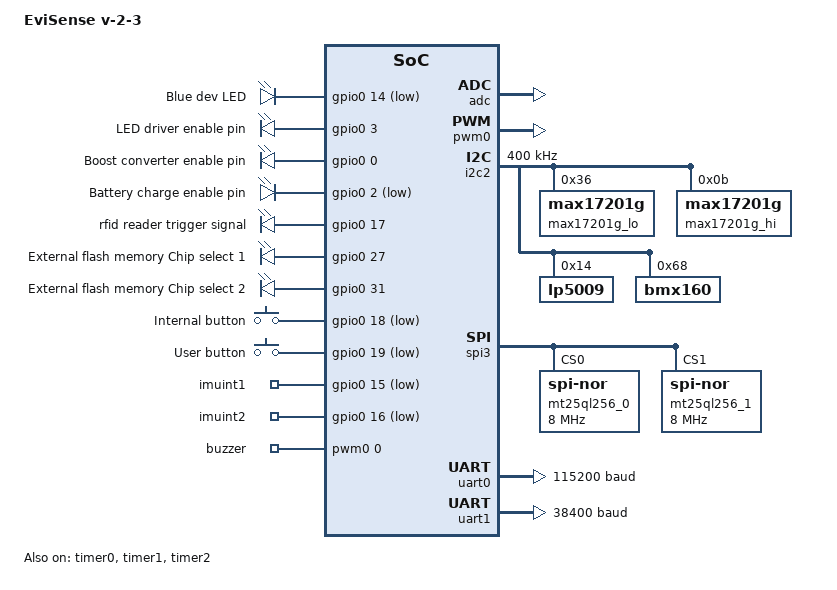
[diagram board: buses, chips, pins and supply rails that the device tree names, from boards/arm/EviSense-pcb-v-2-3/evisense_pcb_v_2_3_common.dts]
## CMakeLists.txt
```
cmake_minimum_required(VERSION 3.13.1)
list(APPEND BOARD_ROOT ${CMAKE_CURRENT_SOURCE_DIR})
find_package(Zephyr REQUIRED HINTS $ENV{ZEPHYR_BASE})
set(CMAKE_EXPORT_COMPILE_COMMANDS ON CACHE INTERNAL "")

project(EviSense)

zephyr_include_directories(include)       
zephyr_include_directories(src/protobuf-c)
zephyr_include_directories(src)

target_sources(app PRIVATE src/main.c)
target_sources(app PRIVATE src/middleware/adc.c)
target_sources(app PRIVATE src/middleware/aletheia.pb-c.c)
target_sources(app PRIVATE src/middleware/battery_gauge.c)
target_sources(app PRIVATE src/middleware/bmi160.c)
target_sources(app PRIVATE src/middleware/bmm150.c)
target_sources(app PRIVATE src/middleware/buttons.c)
target_sources(app PRIVATE src/middleware/buzzer.c)
target_sources(app PRIVATE src/middleware/flash.c)
target_sources(app PRIVATE src/middleware/gpio.c)
target_sources(app PRIVATE src/middleware/hard_reset.c)
target_sources(app PRIVATE src/middleware/i2c.c)
target_sources(app PRIVATE src/middleware/imu.c)
target_sources(app PRIVATE src/middleware/led.c)
target_sources(app PRIVATE src/middleware/pwm.c)
target_sources(app PRIVATE src/middleware/rfid.c)
target_sources(app PRIVATE src/middleware/rtc.c)
target_sources(app PRIVATE src/middleware/spi.c)
target_sources(app PRIVATE src/middleware/stepdetection.c)
target_sources(app PRIVATE src/middleware/uart.c)
target_sources(app PRIVATE src/middleware/usb.c)
target_sources(app PRIVATE src/middleware/watchdog.c)

target_sources(app PRIVATE src/flash/datalog_mem.c)
target_sources(app PRIVATE src/flash/device_mem.c)
target_sources(app PRIVATE src/flash/epc_mem.c)
target_sources(app PRIVATE src/flash/event_mem.c)
target_sources(app PRIVATE src/flash/parameter_mem.c)
target_sources(app PRIVATE src/flash/system_mem.c)

target_sources(app PRIVATE src/logic/algorithms.c)
target_sources(app PRIVATE src/logic/aws_fota.c)
target_sources(app PRIVATE src/logic/cloud.c)
target_sources(app PRIVATE src/logic/coap.c)
target_sources(app PRIVATE src/logic/commands.c)
target_sources(app PRIVATE src/logic/hibernate.c)
target_sources(app PRIVATE src/logic/events.c)
target_sources(app PRIVATE src/logic/modem.c)
target_sources(app PRIVATE src/logic/notification.c)
target_sources(app PRIVATE src/logic/test.c)
target_sources(app PRIVATE src/logic/threads.c)

target_sources(app PRIVATE src/protobuf-c/protobuf-c.c)
```

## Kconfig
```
#
# Copyright (c) 2019 Nordic Semiconductor ASA
#
# SPDX-License-Identifier: LicenseRef-BSD-5-Clause-Nordic
#

menu "CoAP client settings"

config COAP_SERVER_HOSTNAME
	string "CoAP server hostname"
	default "51.137.207.218"
#	default "64.225.102.80"

config COAP_SERVER_PORT
	int "CoAP server port"
	default 5683

endmenu


menu "MQTT FOTA Sample Settings"

config APP_VERSION
	string "Application version"
	default "not used"

config USE_NRF_CLOUD
	bool "Use nRF Cloud"
	default n

config CLOUD_CERT_SEC_TAG
	depends on !USE_NRF_CLOUD
	int "Security tag for TLS credentials"
	default 12345678

config PROVISION_CERTIFICATES
	depends on !USE_NRF_CLOUD
	bool "Provision certificates from the certificates.h file"
	select MODEM_KEY_MGMT
	default n
	help
	  If enabled, the sample provisions server certificates into
	  the modem by storing the certificates defined in the
	  certificates.h file in the modem under the given security tag.
	  Use this option only once to provision the device.
	  The certificates are stored in the application binary and are
	  therefore shown in the modem trace information. This is a
	  security risk. After provisioning the certificates, turn off
	  this option and compile and program the sample again.
	  Also, do not share the binary that includes the compiled
	  certificates with anyone.

config USE_CLOUD_CLIENT_ID
	depends on !USE_NRF_CLOUD
	bool "random_name"
	default y

config CLOUD_CLIENT_ID
	depends on !USE_NRF_CLOUD
	depends on USE_CLOUD_CLIENT_ID
	string "Client ID"
	default "random_name"

config MQTT_BROKER_HOSTNAME
	depends on !USE_NRF_CLOUD
	string "AWS IoT MQTT broker hostname"
	default "a1bezktdoij91s-ats.iot.eu-central-1.amazonaws.com"
	help
	  Default is set to be the nRF Cloud MQTT broker.

config MQTT_BROKER_PORT
	depends on !USE_NRF_CLOUD
	int "AWS IoT MQTT broker port"
	default 8883

config MQTT_BROKER_HOSTNAME
	depends on USE_NRF_CLOUD
	string
	default "a2n7tk1kp18wix-ats.iot.us-east-1.amazonaws.com"
	help
	  Default is set to be the nRF Cloud MQTT broker.

config MQTT_BROKER_PORT
	depends on USE_NRF_CLOUD
	int
	default 8883

config NRF_CLOUD_CLIENT_ID_PREFIX
	depends on !USE_CLOUD_CLIENT_ID
	depends on !NRF_CLOUD
	string "Prefix used when constructing the MQTT client ID from the IMEI"
	default "nrf-"
	help
	  The nrf- prefix is reserved on nRF Connect for Cloud for official Nordic
	  devices (e.g. the nRF9160 DK or the Thingy:91).
	  In case you wish to use aws_fota on nRF Connect for Cloud with your own
	  devices you need to modify the prefix used to generate the MQTT client
	  ID from the IMEI.
	  This property is provided here in case the nrf_cloud module itself is not
	  enabled.

config MQTT_MESSAGE_BUFFER_SIZE
	int "MQTT message buffer size"
	default 128

config MQTT_PAYLOAD_BUFFER_SIZE
	int "MQTT payload buffer size"
	default 128

config DEVICE_SHADOW_PAYLOAD_SIZE
	int "MQTT payload transmission buffer size for AWS IoT device shadow updates"
	default 255

endmenu

menu "Zephyr Kernel"
source "Kconfig.zephyr"
endmenu
```

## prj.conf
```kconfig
# General config
CONFIG_REBOOT=y
CONFIG_DEBUG=y
CONFIG_WATCHDOG=y
CONFIG_WDT_DISABLE_AT_BOOT=n
CONFIG_PWM=y
CONFIG_ADC=y
CONFIG_I2C=y
CONFIG_SPI=y

#Config Uart
CONFIG_UART_ASYNC_API=y
CONFIG_STDOUT_CONSOLE=y

# General
CONFIG_BUILD_WITH_TFM=y
CONFIG_PARTITION_MANAGER_ENABLED=y
CONFIG_FPU=y
CONFIG_PDN=y

# Shell
CONFIG_SHELL=y
CONFIG_SHELL_BACKEND_SERIAL=y
CONFIG_SHELL_PROMPT_UART="user: "
CONFIG_THREAD_MONITOR=y
CONFIG_BOOT_BANNER=n
CONFIG_SHELL_WILDCARD=n
CONFIG_DEVICE_SHELL=n
CONFIG_CLOCK_CONTROL_NRF_SHELL=n
CONFIG_GPIO_SHELL=n
CONFIG_ADC_SHELL=n
CONFIG_I2C_SHELL=n
CONFIG_DEVMEM_SHELL=n
CONFIG_FLASH_SHELL=n

# Logging
#CONFIG_LOG=y
#CONFIG_LOG_DEFAULT_LEVEL=0
#CONFIG_LOG_BACKEND_UART=y

# Heap and stacks
CONFIG_HEAP_MEM_POOL_SIZE=16384
CONFIG_IDLE_STACK_SIZE=2048

# newlibc
CONFIG_NEWLIB_LIBC=y
CONFIG_NEWLIB_LIBC_FLOAT_PRINTF=y
CONFIG_CBPRINTF_FP_SUPPORT=y

# Modem library
CONFIG_NRF_MODEM_LIB=y
CONFIG_MODEM_INFO=y
CONFIG_MODEM_KEY_MGMT=y

# LTE link control
CONFIG_LTE_LINK_CONTROL=y
#CONFIG_LTE_NETWORK_DEFAULT=y
CONFIG_LTE_NETWORK_USE_FALLBACK=y

# Networking
CONFIG_NETWORKING=y
CONFIG_NET_NATIVE=n
CONFIG_NET_SOCKETS=y
CONFIG_NET_SOCKETS_OFFLOAD=y
CONFIG_NET_SOCKETS_POSIX_NAMES=y
CONFIG_NET_IPV4=y
CONFIG_NET_UDP=y

# Date and Time
CONFIG_DATE_TIME=y
CONFIG_DATE_TIME_MODEM=y
CONFIG_DATE_TIME_NTP=y
CONFIG_DATE_TIME_AUTO_UPDATE=y

# CoAP
CONFIG_COAP=y
CONFIG_COAP_EXTENDED_OPTIONS_LEN=y
CONFIG_COAP_EXTENDED_OPTIONS_LEN_VALUE=800
CONFIG_COAP_SERVER_PORT=5684

################################
# Config needed for AWS update
################################

# AWS IoT library
CONFIG_AWS_IOT=y
CONFIG_AWS_IOT_CLIENT_ID_STATIC="EviSense"
CONFIG_AWS_IOT_BROKER_HOST_NAME="a1bezktdoij91s-ats.iot.eu-central-1.amazonaws.com"
CONFIG_AWS_IOT_SEC_TAG=12345678
CONFIG_AWS_IOT_APP_SUBSCRIPTION_LIST_COUNT=2
CONFIG_AWS_IOT_TOPIC_UPDATE_DELTA_SUBSCRIBE=y
CONFIG_AWS_IOT_LAST_WILL=y
CONFIG_AWS_IOT_TOPIC_GET_ACCEPTED_SUBSCRIBE=y
CONFIG_AWS_IOT_TOPIC_GET_REJECTED_SUBSCRIBE=y

# MQTT - Maximum MQTT keepalive timeout specified by AWS IoT Core
CONFIG_MQTT_KEEPALIVE=1200

# MCUBOOT
CONFIG_BOOTLOADER_MCUBOOT=y
CONFIG_MCUBOOT_IMG_MANAGER=y

# Image manager
CONFIG_IMG_MANAGER=y
CONFIG_STREAM_FLASH=y
CONFIG_FLASH_MAP=y
CONFIG_FLASH=y
CONFIG_IMG_ERASE_PROGRESSIVELY=y

# AWS FOTA
CONFIG_AWS_FOTA=y
CONFIG_FOTA_DOWNLOAD=y
CONFIG_DFU_TARGET=y

# CJSON
CONFIG_CJSON_LIB=y

# Download client (needed by AWS FOTA)
CONFIG_DOWNLOAD_CLIENT=y
CONFIG_DOWNLOAD_CLIENT_STACK_SIZE=4096
```

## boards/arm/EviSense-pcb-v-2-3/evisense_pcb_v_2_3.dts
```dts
/*
 * Copyright (c) 2019 Nordic Semiconductor ASA
 *
 * SPDX-License-Identifier: LicenseRef-BSD-5-Clause-Nordic
 */

/dts-v1/;
#include <nordic/nrf9160_sica.dtsi>
#include "evisense_pcb_v_2_3_common.dts"

/ {
	chosen {
		zephyr,sram = &sram0;
		zephyr,flash = &flash0;
		zephyr,code-partition = &slot0_partition;
	};
};
```

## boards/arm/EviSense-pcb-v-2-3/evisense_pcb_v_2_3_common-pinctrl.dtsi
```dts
&pinctrl {
	pwm0_default: pwm0_default {
		group1 {
			psels = <NRF_PSEL(PWM_OUT0, 0, 26)>;
		};
	};

	pwm0_sleep: pwm0_sleep {
		group1 {
			psels = <NRF_PSEL(PWM_OUT0, 0, 26)>;
			low-power-enable;
		};
	};

	i2c2_default: i2c2_default {
		group1 {
			psels = <NRF_PSEL(TWIM_SDA, 0, 11)>,
				<NRF_PSEL(TWIM_SCL, 0, 12)>;
		};
	};

	i2c2_sleep: i2c2_sleep {
		group1 {
			psels = <NRF_PSEL(TWIM_SDA, 0, 11)>,
				<NRF_PSEL(TWIM_SCL, 0, 12)>;
			low-power-enable;
		};
	};

	spi3_default: spi3_default {
		group1 {
			psels = <NRF_PSEL(SPIM_SCK, 0, 28)>,
				<NRF_PSEL(SPIM_MOSI, 0, 29)>,
				<NRF_PSEL(SPIM_MISO, 0, 30)>;
		};
	};

	spi3_sleep: spi3_sleep {
		group1 {
			psels = <NRF_PSEL(SPIM_SCK, 0, 28)>,
				<NRF_PSEL(SPIM_MOSI, 0, 29)>,
				<NRF_PSEL(SPIM_MISO, 0, 30)>;
			low-power-enable;
		};
	};

	uart0_default: uart0_default {
		group1 {
			psels = <NRF_PSEL(UART_TX, 0, 22)>,
				<NRF_PSEL(UART_RX, 0, 23)>;
		};
	};

	uart0_sleep: uart0_sleep {
		group1 {
			psels = <NRF_PSEL(UART_TX, 0, 22)>,
				<NRF_PSEL(UART_RX, 0, 23)>;
			low-power-enable;
		};
	};

	uart1_default: uart1_default {
		group1 {
			psels = <NRF_PSEL(UART_TX, 0, 8)>,
				<NRF_PSEL(UART_RX, 0, 7)>;
		};
	};

	uart1_sleep: uart1_sleep {
		group1 {
			psels = <NRF_PSEL(UART_TX, 0, 8)>,
				<NRF_PSEL(UART_RX, 0, 7)>;
			low-power-enable;
		};
	};
};
```

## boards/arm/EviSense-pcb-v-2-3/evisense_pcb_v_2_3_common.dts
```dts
/*
 * Copyright (c) 2019 Nordic Semiconductor ASA
 *
 * SPDX-License-Identifier: LicenseRef-BSD-5-Clause-Nordic
 */

#include "evisense_pcb_v_2_3_common-pinctrl.dtsi"

/ {
	model = "EviSense v-2-3";
	compatible = "keiltronic,evisense_pcb_v_2_3";

	chosen {
		zephyr,console = &uart0;
		zephyr,shell-uart = &uart0;
		zephyr,uart-mcumgr = &uart0;
	};

	aliases{
		led0 = &led0;
		btn0 = &button0;
		btn1 = &button1;
		extflash1 = &mt25ql256_0;
		extflash2 = &mt25ql256_1;
		mysensor = &bmx160;
		myleddriver = &lp5009;
		lp5009enable = &lp5009_enable;
		batterygaugelo = &max17201g_lo;
		batterygaugehi = &max17201g_hi;
		watchdog0 = &wdt0;
		imu = &bmx160;
		imuint1 = &imuint1;
		imuint2 = &imuint2;
		boosterenable = &booster_enable;
		chargeenable = &charge_enable;
		rfidtrigger = &rfid_trigger;
		spi3 = &spi3;
		cs1 = &cs_1;
		cs2 = &cs_2;
		buzzerpwm = &buzzer;
		i2c2 = &i2c2;
		/*mcuboot_button0 = &button1;*/
	};

	leds {
		compatible = "gpio-leds";
		led0: led_0 {
			gpios = <&gpio0 14 GPIO_ACTIVE_LOW>;
			label = "Blue dev LED";
		};

		lp5009_enable: lp5009_en {
			gpios = <&gpio0 3 GPIO_ACTIVE_HIGH>;
			label = "LED driver enable pin";
		};

		booster_enable: booster_en {
			gpios = <&gpio0 0 GPIO_ACTIVE_HIGH>;
			label = "Boost converter enable pin";
		};

		charge_enable: charge_en {
			gpios = <&gpio0 2 GPIO_ACTIVE_LOW>;
			label = "Battery charge enable pin";
		};

		rfid_trigger: rfid_trig {
			gpios = <&gpio0 17 GPIO_ACTIVE_HIGH>;
			label = "rfid reader trigger signal";
		};

		cs_1: cs1 {
			gpios = <&gpio0 27 GPIO_ACTIVE_HIGH>;
			label = "External flash memory Chip select 1";
		};

		cs_2: cs2 {
			gpios = <&gpio0 31 GPIO_ACTIVE_HIGH>;
			label = "External flash memory Chip select 2";
		};
	};
	

	buttons {
		compatible = "gpio-keys";
		button0: button_0 {
			gpios = <&gpio0 18 (GPIO_PULL_UP | GPIO_ACTIVE_LOW)>;
			label = "Internal button";
		};
		button1: button_1 {
			gpios = <&gpio0 19 (GPIO_PULL_UP | GPIO_ACTIVE_LOW)>;
			label = "User button";
		};
		imuint1: imu_int1 {
			gpios = <&gpio0 15 (GPIO_PULL_UP | GPIO_ACTIVE_LOW)>;
		};

		imuint2: imu_int2 {
			gpios = <&gpio0 16 (GPIO_PULL_UP | GPIO_ACTIVE_LOW)>;
		};
	};

	reset {
		compatible = "reset-switch";
		reset0: reset_0 {
			gpios = <&gpio0 1 (GPIO_PULL_DOWN | GPIO_ACTIVE_HIGH)>;			
		};
	};

	pwmbuzzer{
		compatible = "pwm-leds";
		status = "okay";

		buzzer: buzzer_pwm {
			pwms = < &pwm0 0 PWM_HZ(2700) PWM_POLARITY_NORMAL>;
		};
	};
};

&wdt0 {
	/* uncomment to use Non-Maskable interrupt instead of the normal one */
	/* interrupt-nmi; */
};

&adc {
	status = "okay";
};

&gpiote {
	status = "okay";
};

&gpio0 {
	status = "okay";
};

&pwm0 {
	status = "okay";
	pinctrl-0 = <&pwm0_default>;
	pinctrl-1 = <&pwm0_sleep>;
	pinctrl-names = "default", "sleep";
};

&i2c2 {
	compatible = "nordic,nrf-twim";
	status = "okay";
	pinctrl-0 = <&i2c2_default>;
	pinctrl-1 = <&i2c2_sleep>;
	pinctrl-names = "default", "sleep";
	clock-frequency = <I2C_BITRATE_FAST>;

 	max17201g_lo: max17201g@36 {
		reg = <0x36>;
	};

 	max17201g_hi: max17201g@b {
		reg = <0xb>;
	};

	lp5009: lp5009@14 {
		reg = <0x14>;
	};

	bmx160: bmx160@68 {
		reg = <0x68>;
	};
};

&spi3 {
	compatible = "nordic,nrf-spim";
	status = "okay";
	/*cs-gpios = <&gpio0 27 GPIO_ACTIVE_LOW>, <&gpio0 31 GPIO_ACTIVE_LOW>;*/
	pinctrl-0 = <&spi3_default>;
	pinctrl-1 = <&spi3_sleep>;
	pinctrl-names = "default", "sleep";

	mt25ql256_0: mt25ql256@0 {
		compatible = "jedec,spi-nor";
		reg = <0>;
		spi-max-frequency = <8000000>;
		jedec-id = [ ef 40 21 ];
		size = <268435456>;
	};

	mt25ql256_1: mt25ql256@1 {
		compatible = "jedec,spi-nor";
		reg = <1>;
		spi-max-frequency = <8000000>;
		jedec-id = [ ef 40 21 ];
		size = <268435456>;
	};
};

&timer0 {
	status = "okay";
};

&timer1 {
	status = "okay";
};

&timer2 {
	status = "okay";
};

&uart0 {
	compatible = "nordic,nrf-uarte";
	current-speed = <115200>;
	status = "okay";
	pinctrl-0 = <&uart0_default>;
	pinctrl-1 = <&uart0_sleep>;
	pinctrl-names = "default", "sleep";
};

&uart1 {
	compatible = "nordic,nrf-uarte";
	current-speed = <38400>;
	status = "okay";
	pinctrl-0 = <&uart1_default>;
	pinctrl-1 = <&uart1_sleep>;
	pinctrl-names = "default", "sleep";
};

&flash0 {
	/*
	 * For more information, see:
	 * http: //docs.zephyrproject.org/devices/dts/flash_partitions.html
	 */
	partitions {
		compatible = "fixed-partitions";
		#address-cells = <1>;
		#size-cells = <1>;

		boot_partition: partition@0 {
			label = "mcuboot";
			reg = <0x00000000 0x10000>;
		};
		slot0_partition: partition@10000 {
			label = "image-0";
		};
		slot0_ns_partition: partition@40000 {
			label = "image-0-nonsecure";
		};
		slot1_partition: partition@80000 {
			label = "image-1";
		};
		slot1_ns_partition: partition@b0000 {
			label = "image-1-nonsecure";
		};
		scratch_partition: partition@f0000 {
			label = "image-scratch";
			reg = <0x000f0000 0xa000>;
		};
		storage_partition: partition@fa000 {
			label = "storage";
			reg = <0x000fa000 0x00006000>;
		};
	};
};

/ {
	reserved-memory {
		#address-cells = <1>;
		#size-cells = <1>;
		ranges;

		sram0_s: image_s@20000000 {
			/* Secure image memory */
		};

		sram0_bsd: image_bsd@20010000 {
			/* BSD (shared) memory */
		};

		sram0_ns: image_ns@20020000 {
			/* Non-Secure image memory */
		};
	};
};

/* Include partition configuration file */
#include "evisense_pcb_v_2_3_partition_conf.dts"
```

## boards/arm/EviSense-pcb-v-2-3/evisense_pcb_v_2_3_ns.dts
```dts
/*
 * Copyright (c) 2019 Nordic Semiconductor ASA
 *
 * SPDX-License-Identifier: LicenseRef-BSD-5-Clause-Nordic
 */

/dts-v1/;
#include <nordic/nrf9160ns_sica.dtsi>
#include "evisense_pcb_v_2_3_common.dts"

/ {
	chosen {
		zephyr,flash = &flash0;
		zephyr,sram = &sram0_ns;
		zephyr,code-partition = &slot0_ns_partition;
	};
};
```

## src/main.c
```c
/**\mainpage
 * Copyright (C) 2020 - 2024 keiltronic GmbH
 *
 * Redistribution and use in source and binary forms, with or without
 * modification, are permitted provided that the following conditions are met:
 *
 * Redistributions of source code must retain the above copyright
 * notice, this list of conditions and the following disclaimer.
 *
 * Redistributions in binary form must reproduce the above copyright
 * notice, this list of conditions and the following disclaimer in the
 * documentation and/or other materials provided with the distribution.
 *
 * Neither the name of the copyright holder nor the names of the
 * contributors may be used to endorse or promote products derived from
 * this software without specific prior written permission.
 *
 * THIS SOFTWARE IS PROVIDED BY THE COPYRIGHT HOLDERS AND
 * CONTRIBUTORS "AS IS" AND ANY EXPRESS OR
 * IMPLIED WARRANTIES, INCLUDING, BUT NOT LIMITED TO, THE IMPLIED

 * WARRANTIES OF MERCHANTABILITY AND FITNESS FOR A PARTICULAR PURPOSE ARE
 * DISCLAIMED. IN NO EVENT SHALL COPYRIGHT HOLDER
 * OR CONTRIBUTORS BE LIABLE FOR ANY
 * DIRECT, INDIRECT, INCIDENTAL, SPECIAL, EXEMPLARY,
 * OR CONSEQUENTIAL DAMAGES(INCLUDING, BUT NOT LIMITED TO,
 * PROCUREMENT OF SUBSTITUTE GOODS OR SERVICES;
 * LOSS OF USE, DATA, OR PROFITS; OR BUSINESS INTERRUPTION)
 * HOWEVER CAUSED AND ON ANY THEORY OF LIABILITY,
 * WHETHER IN CONTRACT, STRICT LIABILITY, OR TORT
 * (INCLUDING NEGLIGENCE OR OTHERWISE) ARISING IN
 * ANY WAY OUT OF THE USE OF THIS
 * SOFTWARE, EVEN IF ADVISED OF THE POSSIBILITY OF SUCH DAMAGE
 *
 * The information provided is believed to be accurate and reliable.
 * The copyright holder assumes no responsibility
 * for the consequences of use
 * of such information nor for any infringement of patents or
 * other rights of third parties which may result from its use.
 * No license is granted by implication or otherwise under any patent or
 * patent rights of the copyright holder.
 */

/**
 * @file main.c
 * @author Thomas Keilbach | keiltronic GmbH
 * @date 06 Oct 2023
 * @brief This main file is the initial application starting point after Zephyr OS booted up
 * @version 2.0.0
 */

/*!
 * @defgroup main
 * @brief This main file is the initial application starting point after Zephyr OS booted up
 * @{*/
#include <stdint.h>
#include <stdio.h>
#include <stdlib.h>
#include <zephyr/sys/printk.h>
#include <time.h>
#include <zephyr/kernel.h>
#include <zephyr/shell/shell.h>
#include "algorithms.h"
#include "battery_gauge.h"
#include "cloud.h"
#include "coap.h"
#include "commands.h"
#include "datalog_mem.h"
#include "device_mem.h"
#include "flash.h"
#include "gpio.h"
#include "i2c.h"
#include "led.h"
#include "modem.h"
#include "notification.h"
#include "parameter_mem.h"
#include "pwm.h"
#include "rfid.h"
#include "rtc.h"
#include "spi.h"
#include "system_mem.h"
#include "threads.h"
#include "uart.h"
#include "rfid.h"
#include "usb.h"
#include "aws_fota.h"
#include "test.h"
#include "hard_reset.h"

/*!
 * @brief This functions validates if all parameter values stored in the external flash are valid.
 * @note This function talks directly over the SPI bus with the external NOR flash memory. For this it uses the API calls defined in flash.c
 * @see flash.c
 */
void ValidateParameterInExernalFlash(void)
{
	/* Load default values into RAM */
	System_InitRAM();
	Parameter_InitRAM();
	Device_InitRAM();
	epc_mem_init();
	notification_init();
	notification_init_action_matrix();

	/* Init modem */
	modem_init();

	/* Fetch modem version */
	modem_update_information();

	/* Print firmware version */
	if (pcb_test_is_running == false)
	{
		rtc_print_debug_timestamp();
		shell_fprintf(shell_backend_uart_get_ptr(), SHELL_VT100_COLOR_CYAN, "FW version application: %d.%d.%d, Build time: " __DATE__ ", " __TIME__ "\n", Device.FirmwareMajorVersion, Device.FirmwareMinorVersion, Device.FirmwareInternVersion);

		/* Print modem firmware version */
		rtc_print_debug_timestamp();
		shell_fprintf(shell_backend_uart_get_ptr(), SHELL_VT100_COLOR_CYAN, "FW version of modem: \t%s", modem.version);

		/* Print hardware information */
		rtc_print_debug_timestamp();
		shell_fprintf(shell_backend_uart_get_ptr(), SHELL_VT100_COLOR_CYAN, "PCB version:\t\t%d.%d,\tIMEI: %s", Device.HardwareMajorVersion, Device.HardwareMinorVersion, modem.IMEI);
	}

	/* Read stored firmware version from flash */
	DEVICE device_mem_flash;
	flash_read(GPIO_PIN_FLASH_CS2, DEVICE_MEM, &device_mem_flash.device_mem_bytes[0], DEVICE_MEM_LENGTH_RAM);

	/* Firmware update recognized, reset parameter setting */
	if (device_mem_flash.FirmwareMajorVersion != Device.FirmwareMajorVersion || device_mem_flash.FirmwareMinorVersion != Device.FirmwareMinorVersion || device_mem_flash.FirmwareInternVersion != Device.FirmwareInternVersion)
	{
		if (pcb_test_is_running == false)
		{
			rtc_print_debug_timestamp();
			shell_fprintf(shell_backend_uart_get_ptr(), SHELL_VT100_COLOR_RED, "Stored fw version: %d.%d.%d! Data in external flash is obsolete. Restoring default values, please wait...\n", device_mem_flash.FirmwareMajorVersion, device_mem_flash.FirmwareMinorVersion, device_mem_flash.FirmwareInternVersion);
		}
		Device_PopFlashToRAM();
		factorysettings();
		modem_initial_setup();
	}
	else
	{
		if (pcb_test_is_running == false)
		{
			rtc_print_debug_timestamp();
			shell_fprintf(shell_backend_uart_get_ptr(), SHELL_VT100_COLOR_DEFAULT, "Loading settings from external flash\n");
		}
		Parameter_PopFlashToRAM();
		Device_PopFlashToRAM();
	}

	if (pcb_test_is_running == false)
	{
		rtc_print_debug_timestamp();
		shell_fprintf(shell_backend_uart_get_ptr(), SHELL_VT100_COLOR_DEFAULT, "Checking last valid frame number in log memory (stored in external flash memory): ");
	}

	System.datalogFrameNumber = flash_GetLastFrameNumber(GPIO_PIN_FLASH_CS1, FLASH_SUBSUBSECTOR_SIZE, DATALOG_MEM, DATALOG_MEM_LENGTH, DATALOG_FRAME_LENGTH);
	if (pcb_test_is_running == false)
	{
		shell_fprintf(shell_backend_uart_get_ptr(), SHELL_VT100_COLOR_DEFAULT, "%d\n", System.datalogFrameNumber);
	}

	/* Check for EPCs in external flash */
	EPC_last_rfid_record_index = EPC_Memory_GetLastIndex(GPIO_PIN_FLASH_CS2, RFID_RECORD_REGION, RFID_RECORD_REGION_LENGTH, RFID_RECORD_BYTE_LENGTH);
	if (pcb_test_is_running == false)
	{
		rtc_print_debug_timestamp();
		shell_fprintf(shell_backend_uart_get_ptr(), SHELL_VT100_COLOR_DEFAULT, "Stored rfid records: %d\n", EPC_last_rfid_record_index);
	}

	EPC_last_room_record_index = EPC_Memory_GetLastIndex(GPIO_PIN_FLASH_CS2, ROOM_RECORD_REGION, ROOM_RECORD_REGION_LENGTH, ROOM_RECORD_BYTE_LENGTH);
	if (pcb_test_is_running == false)
	{
		rtc_print_debug_timestamp();
		shell_fprintf(shell_backend_uart_get_ptr(), SHELL_VT100_COLOR_DEFAULT, "Stored room records: %d\n", EPC_last_room_record_index);
	}

	EPC_last_mop_record_index = EPC_Memory_GetLastIndex(GPIO_PIN_FLASH_CS2, MOP_RECORD_REGION, MOP_RECORD_REGION_LENGTH, MOP_RECORD_BYTE_LENGTH);
	if (pcb_test_is_running == false)
	{
		rtc_print_debug_timestamp();
		shell_fprintf(shell_backend_uart_get_ptr(), SHELL_VT100_COLOR_DEFAULT, "Stored mop records: %d\n", EPC_last_mop_record_index);
	}
}

/**
 * @brief This functions checks how much space is avaliable in heap memory
 *
 * @return uint32_t: Returns the available bytes in heap.
 */
uint32_t memcheck_heap_freespace(void)
{
	uint32_t blockSize = 8;
	uint32_t i = 1;

	wdt_reset();

	while (true)
	{
		char *p = (char *)malloc(i * blockSize);
		if (p == NULL)
		{
			break;
		}
		free(p);
		++i;
	}
	return ((i - 1) * blockSize);
}

/*!
 * @brief This function resets all parameters and device settings back to factory default settings.
 * @note This function resets only globale variables which are defined in parameter_mem. Device-/datalog memory
 * and EPC database will not get cleared.
 * @see parameter_mem.c
 */
void factorysettings(void)
{
	if (pcb_test_is_running == false)
	{
		rtc_print_debug_timestamp();
		shell_fprintf(shell_backend_uart_get_ptr(), SHELL_VT100_COLOR_DEFAULT, "Erasing parameter, device and datalog memory and reset them to default values. This may take a while, please wait.\n");
	}
	DEVICE Device_cpy;

	/* Deep copy device structure from RAM*/
	Device_cpy.OpertingTime = Device.OpertingTime;
	Device_cpy.ChargeCycles = Device.ChargeCycles;

	if (Device_cpy.ChargeCycles == 0xFFFFFFFF)
	{
		Device_cpy.ChargeCycles = 0UL;
	}

	/* Load default values to RAM */
	Parameter_InitRAM();
	Device_InitRAM();

	/* Rewrite local device parameter in RAM with the temporarily stored data */
	Device.OpertingTime = Device_cpy.OpertingTime;
	Device.ChargeCycles = Device_cpy.ChargeCycles;

	/* Reset datalog memory */
	datalog_CleardatalogAll();
	datalog_MemoryFull = false;

	/* Write the data back to flash memory*/
	Device_PushRAMToFlash();
	Parameter_PushRAMToFlash();

	if (Parameter.rfid_disable == false)
	{
		config_RFID();
	}

	if (pcb_test_is_running == false)
	{
		rtc_print_debug_timestamp();
		shell_fprintf(shell_backend_uart_get_ptr(), SHELL_VT100_COLOR_DEFAULT, "Factory reset done.\n");
	}
}

/*!
 * @brief This main function is the initial starting point of the application after Zephyr OS booted up.
 * @details The purpose of this main function is to initialize all pheriperals and finally to start all threads.
 * Since the main function itself is also a thread from Zephyr OS point of view, the main function (thread)
 * will get terminated and is running only once after the system booted up.
 */
void main(void)
{
	int16_t err = 0;

	/* Init functions */
	hard_reset_init();
	dev_led_init();
	button_init();
	init_rtc();
	gpio_pin_set_dt(&dev_led, 1); // Enable blue dev led while booting
	rfid_init();
	rfid_power_on();
	Event_ClearArray();

	k_msleep(50);

	/* Readout and output last reset reason */
	last_reset_reason = nrf_power_resetreas_get(NRF_POWER_NS);

	/* If device restarts from hibernate mode, do a real hardware reset */
	if (last_reset_reason == 0x4)
	{
		gpio_pin_set_dt(&reset_switch, 1);
	}

	/* Welcome message */
	rtc_print_debug_timestamp();
	shell_fprintf(shell_backend_uart_get_ptr(), SHELL_VT100_COLOR_RED, "VILEDA PROFESSIONAL - EviSense\n");
	rtc_print_debug_timestamp();
	shell_fprintf(shell_backend_uart_get_ptr(), SHELL_VT100_COLOR_RED, "==============================\n");

	nrf_power_resetreas_clear(NRF_POWER_NS, 0xFFFFFFFF);
	rtc_print_debug_timestamp();
	shell_fprintf(shell_backend_uart_get_ptr(), SHELL_VT100_COLOR_CYAN, "Last reset reason: ");

	switch (last_reset_reason)
	{
	case 0x0:
		shell_fprintf(shell_backend_uart_get_ptr(), SHELL_VT100_COLOR_CYAN, "0x%X - Power-on reset or a brownout reset\n", last_reset_reason);
		break;

	case 0x1:
		shell_fprintf(shell_backend_uart_get_ptr(), SHELL_VT100_COLOR_CYAN, "0x%X - Reset from pin reset detected\n", last_reset_reason);
		break;

	case 0x2:
		shell_fprintf(shell_backend_uart_get_ptr(), SHELL_VT100_COLOR_CYAN, "0x%X - Reset from global watchdog detected\n", last_reset_reason);
		break;

	case 0x4:
		shell_fprintf(shell_backend_uart_get_ptr(), SHELL_VT100_COLOR_CYAN, "0x%X - Reset due to wakeup from System OFF mode, when wakeup is triggered by DETECT signal from GPIO\n", last_reset_reason);
		break;

	case 0x10:
		shell_fprintf(shell_backend_uart_get_ptr(), SHELL_VT100_COLOR_CYAN, "0x%X - Reset due to wakeup from System OFF mode, when wakeup is triggered by entering debug interface mode\n", last_reset_reason);
		break;

	case 0x10000:
		shell_fprintf(shell_backend_uart_get_ptr(), SHELL_VT100_COLOR_CYAN, "0x%X - Reset from AIRCR.SYSRESETREQ detected\n", last_reset_reason);
		break;

	case 0x20000:
		shell_fprintf(shell_backend_uart_get_ptr(), SHELL_VT100_COLOR_CYAN, "0x%X - Reset from CPU lock-up detected\n", last_reset_reason);
		break;

	case 0x30000:
		shell_fprintf(shell_backend_uart_get_ptr(), SHELL_VT100_COLOR_CYAN, "0x%X - Reset triggered through CTRL-AP\n", last_reset_reason);
		break;

	default:
		shell_fprintf(shell_backend_uart_get_ptr(), SHELL_VT100_COLOR_RED, "0x%X - Unkown reset reason\n", last_reset_reason);
		break;
	}

	if (last_reset_reason & POWER_RESETREAS_OFF_Msk)
	{
		nrf_power_resetreas_clear(NRF_POWER_NS, 0x70017); // Clear all RESETREAS when waking up from System OFF sleep by GPIO.
	}

	/* Init peripherals */
	adc_init();
	spi_init();
	uart1_init(); // Inits UART 1 for rfid module (UART 0 for shell and temrinal is initialized by Zephyr OS and devicetree)
	pwm_init();
	i2c_init();

	/* Check if charger is pluged into the device while it is booting */
	uint16_t vusb_digit = 0;
	vusb_digit = adc_sample(0);

	if (vusb_digit >= VUSB_THRES_DIGIT && vusb_digit <= 4095)
	{
		charger_plug_in_while_reboot = true;
	}

	/* Init flash memory and load NVM parameters to RAM */
	flash_init();
	ValidateParameterInExernalFlash();

	/* Init propritary driver  which depents on loaded parameters*/
	battery_gauge_init();
	rgb_led_init();
	imu_init();
	command_init();
	init_algorithms();

	/* Create power on event*/
	NewEvent0x13();

	/* All initializations were successful mark image as working so that we
	 * will not revert upon reboot.
	 */
	// err = boot_write_img_confirmed();

	if (err < 0)
	{
		rtc_print_debug_timestamp();
		shell_fprintf(shell_backend_uart_get_ptr(), SHELL_VT100_COLOR_RED, "ERROR: boot_write_img not confirmed errno %d\n", errno);
		rtc_print_debug_timestamp();
		shell_fprintf(shell_backend_uart_get_ptr(), SHELL_VT100_COLOR_RED, "ERROR: boot_write_img not confirmed err %d\n", err);
	}

	/* Threads takeover the system handling, main (main thread) is destroyed after the end of this function is reached */
	init_threads();

	k_msleep(100);

	/* Allow FOTA connection to server only after reboot and if USB is connected (charging)*/
	if (System.charger_connected == true)
	{
		fota_reboot_while_usb_connected = true;
	}

	if (Parameter.rfid_autoscan == true)
	{
		RFID_autoscan_enabled = true;
		config_RFID();
		k_msleep(50);
		RFID_ScanEnable = true;

		/* For debugging prupose enable blue dev led when motion detected*/
		gpio_pin_set_dt(&dev_led, 0);
	}
	else
	{
		/* For debugging prupose enable blue dev led when motion detected*/
		gpio_pin_set_dt(&dev_led, 1);
	}

	/* Set "device on frame" detection */
	k_msleep(100);

	if (Parameter.algocontrol_bymag_det == 0)
	{
		rtc_print_debug_timestamp();
		shell_fprintf(shell_backend_uart_get_ptr(), SHELL_VT100_COLOR_YELLOW, "Mop algorithm is unlocked (mop magnet detection deactivated, mop algorithm is running)\n");
		algorithm_lock = false;
	}
	else
	{
		rtc_print_debug_timestamp();
		shell_fprintf(shell_backend_uart_get_ptr(), SHELL_VT100_COLOR_YELLOW, "Automatic device on frame detecion activated\n");
	}

	if (Parameter.notification_test == true)
	{
		notification_set_priority(NOTIFICATION_PRIORITY_LEVEL_LOWEST);
	}

	/* Clean event storage region in external flash */
	rtc_print_debug_timestamp();
	shell_fprintf(shell_backend_uart_get_ptr(), SHELL_VT100_COLOR_DEFAULT, "Erasing stored events in flash memory\n");
	Event_ClearCompleteFlash();

	/* Set flag that boot sequence completed before main thread is terminated */
	System.boot_complete = true;

	wdt_init();

	/* Disable blue dev led after boot cocmplete */
	gpio_pin_set_dt(&dev_led, 0);
}
```

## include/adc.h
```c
/**
 * @file adc.h
 * @author Thomas Keilbach | keiltronic GmbH
 * @date 27 Oct 2022
 * @brief This file contains functions headers to communicate with the pheripherals
 * @version 1.0.0
 */

#ifndef ADC_H
#define ADC_H

#include <zephyr/kernel.h>
#include <zephyr/device.h>
#include <zephyr/drivers/gpio.h>
#include <zephyr/drivers/adc.h>

#define BATVOLT_R1 10.0f                 // MOhm
#define BATVOLT_R2 5.6f                // MOhm
#define INPUT_VOLT_RANGE 5.5f           // Volts
#define VALUE_RANGE_12_BIT 4.096        // (2^10 - 1) / 1000

#define ADC_NODE DT_NODELABEL(adc)

#define ADC_RESOLUTION 12
#define ADC_GAIN ADC_GAIN_1_6
#define ADC_REFERENCE ADC_REF_INTERNAL
#define ADC_ACQUISITION_TIME ADC_ACQ_TIME(ADC_ACQ_TIME_MICROSECONDS, 10)
#define ADC_1ST_CHANNEL_ID 0
#define ADC_1ST_CHANNEL_INPUT SAADC_CH_PSELP_PSELP_AnalogInput0

#define BUFFER_SIZE 1

#define ADC_RES_UV 805.66 //(3300mV / 4096 digit)

//extern struct device *adc_dev;
//extern void init_adc(void);
extern void adc_init(void);
extern uint16_t adc_sample(uint8_t channel);

#endif
```

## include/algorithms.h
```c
/**
 * @file algorithm.h
 * @author Thomas Keilbach | keiltronic GmbH
 * @date 27 Oct 2022
 * @brief This file contains functions headers to communicate with the pheripherals
 * @version 1.0.0
 */

#ifndef ALGORITHMS_H
#define ALGORITHMS_H

#include <zephyr/kernel.h>
#include <zephyr/device.h>
#include <math.h>
#include "parameter_mem.h"
#include "datalog_mem.h"
#include "imu.h"
#include "epc_mem.h"
#include "rtc.h"
#include "events.h"
#include "epc_mem.h"
#include "cloud.h"
#include "test.h"

#define PI                3.141593
#define EARTH_GRAVITY     9.80665 //  m/s^2
#define NF                10 //samples for moving average filter (0.25secs)

#define MOP_RESET_STATE     0
#define NEW_CHIPPED_MOP     1
#define NEW_UNCHIPPED_MOP   2

#define IDLE_STATE          0
#define MOVING_STATE        1
#define MOPPING_STATE       2

extern void init_algorithms(void);
extern void algo_reset_variables(void);
extern void algo_fAddArrayElement(float *array, float sample, uint16_t array_length);
extern float algo_fmean(float *array, uint16_t array_length);
extern float algo_fsum(float *array, uint16_t array_length);
extern void algorithm_execute_process(void);
extern void update_average_usage_numbers(void);
extern float standard_deviation(float *array, int length);

extern uint8_t mob_max_sqm_reached;
extern uint8_t mob_max_side1_sqm_reached;
extern uint8_t mob_max_side2_sqm_reached;
extern float mopping_speed;
extern float mopping_coverage_per_mop;
extern float mopping_coverage_side1;
extern float mopping_coverage_side2;
extern float floor_handle_angle[2];
extern float frame_handle_angle[2];
extern uint16_t mopcycles;
extern uint8_t mopping_pattern[2];
extern uint8_t motion_state[2];
extern uint8_t Frame_side[2];
extern uint8_t Mop_on_floor_after_Change_Flag;
extern uint8_t frame_lift_flag[2];

extern uint32_t mop_rfid_readings;
extern uint32_t mop_null_readings;
extern uint8_t MoppingFlag[2];
extern int64_t Newmop_RFID_tsp;
extern uint32_t Newmop_RFID_readings;
extern uint8_t Newmop_RFID_flag;
extern uint8_t Prevmop_RFID_replaced_flag;
extern int64_t Mopping_start_tsp;
extern uint8_t Mopping_motion_gyr_flag;

extern uint32_t time_in_idle_state;
extern uint32_t time_in_moving_state;
extern uint32_t time_in_mopping_state;

extern double idle_time_in_percentage;
extern double moving_time_in_percentage;
extern double mopping_time_in_percentage;

extern uint8_t Flag_SameMopAlreadyUsedNotification;
extern uint8_t chipped_mop_installed;
extern uint8_t algorithm_lock;
extern uint32_t Total_mops_used;

#endif
```

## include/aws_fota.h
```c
/**
 * @file aws.h
 * @author Thomas Keilbach | keiltronic GmbH
 * @date 08 Oct 2023
 * @brief This file contains functions headers to communicate with the pheripherals
 * @version 2.0.0
 */

#ifndef AWS_FOTA_H
#define AWS_FOTA_H

#include <zephyr/kernel.h>
#include <stdio.h>
//#include <bsd.h>
// #include <modem/lte_lc.h>
// #include <modem/at_cmd.h>
// #include <modem/at_notif.h>
// #include <net/mqtt.h>
// #include <net/socket.h>
// #include <modem/bsdlib.h>
#include <net/aws_jobs.h>
#include <net/aws_fota.h>
//#include <dfu/mcuboot.h>
#include <zephyr/sys/reboot.h>
#include <zephyr/sys/byteorder.h>
#include "coap.h"
#include "test.h"

BUILD_ASSERT(!IS_ENABLED(CONFIG_LTE_AUTO_INIT_AND_CONNECT), "This sample does not support auto init and connect");

#define MQTT_KEEPALIVE (CONFIG_MQTT_KEEPALIVE * MSEC_PER_SEC)

#if !defined(CONFIG_CLOUD_CLIENT_ID)
/* Define the length of the IMEI AT COMMAND response buffer */
#define CGSN_RESP_LEN 19
#define IMEI_LEN 15
#define CLIENT_ID_LEN (sizeof(CONFIG_NRF_CLOUD_CLIENT_ID_PREFIX) + IMEI_LEN)
#else
#define CLIENT_ID_LEN sizeof(CONFIG_CLOUD_CLIENT_ID)
#endif

#define AWS_FOTA_PROCESS_IDLE 0
#define AWS_FOTA_PROCESS_INIT 1
#define AWS_FOTA_PROCESS_CONNECT 2
#define AWS_FOTA_PROCESS_RUNNING 3
#define AWS_FOTA_PROCESS_DISCONNECT 4

#define FOTA_CONNECTION_DURATION 600000 // 10 min

extern uint8_t aws_fota_process_state;

extern int fds_init(struct mqtt_client *c);
extern void at_configure(void);
extern void aws_fota_cb_handler(struct aws_fota_event *fota_evt);
extern int client_init(struct mqtt_client *client, char *hostname);
extern int client_id_get(char *id_buf,uint32_t len);
extern int update_device_shadow_version(struct mqtt_client *const client);
extern void data_print(uint8_t *prefix, uint8_t *data,uint32_t len);
extern int publish_get_payload(struct mqtt_client *c, uint8_t *write_buf,uint32_t length);
extern void mqtt_evt_handler(struct mqtt_client *const c, const struct mqtt_evt *evt);
extern void broker_init(const char *hostname);
extern void aws_fota_statemachine(void);

extern uint8_t fota_reboot_while_usb_connected;
extern uint8_t fota_is_connected;
extern uint32_t fota_connection_timer;
extern uint8_t fota_download_in_progress;

/* MQTT Broker details. */
extern struct sockaddr_storage broker_storage;

/* File descriptor */
extern struct pollfd fds;

/* Set to true when application should teardown and reboot */
extern bool do_reboot;

/* Set to true when application should reconnect the LTE link*/
extern bool link_offline;

extern struct mqtt_client client;

#endif
```

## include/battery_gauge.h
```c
/**
 * @file battery_gauge.h
 * @author Thomas Keilbach | keiltronic GmbH
 * @date 27 Oct 2022
 * @brief This file contains functions headers to communicate with the pheripherals
 * @version 1.0.0
 */

#ifndef BATTERY_GAUGE_H
#define BATTERY_GAUGE_H

#include <zephyr/kernel.h>
#include <zephyr/device.h>
#include <zephyr/drivers/i2c.h>
#include "i2c.h"
#include "system_mem.h"
#include "notification.h"

/* Device address */
#define MAX1720X_ADDR_LO 0x36 // 7-bit address -> in 8-bit: 0x6C, address range 0x000 - 0x0FF
#define MAX1720X_ADDR_HI 0x0B // 7-bit address -> in 8-bit: 0x16, address range 0x180 - 0x1FF

#define MAX1720X_ADDR 0x36
#define MAX1720X_STATUS_ADDR 0x00     // Contains alert status and chip status
#define MAX1720X_VCELL_ADDR 0x09      // Lowest cell voltage of a pack, or the cell voltage for a single cell
#define MAX1720X_REPSOC_ADDR 0x06     // Reported state of charge
#define MAX1720X_REPCAP_ADDR 0x05     // Reported remaining capacity

#define MAX1720X_AGE_ADDR 0x07        // Reported estimated age in percent
#define MAX1720X_TEMP_ADDR 0x08       // Temperature
#define MAX1720X_CURENT_ADDR 0x0A     // Battery current
#define MAX1720X_AVG_CURENT_ADDR 0x0B // Battery average current
#define MAX1720X_TTE_ADDR 0x11        // Time to empty
#define MAX1720X_CYCLE_ADDR 0x17      // Charge cycle counter
#define MAX1720X_TTF_ADDR 0x20        // Time to full
#define MAX1720X_DEVNAME_ADDR 0x21    // Time to full
#define MAX1720X_CAPACITY_ADDR 0x10   // Full capacity estimation
#define MAX1720X_VBAT_ADDR 0xDA       // Battery pack voltage
#define MAX1720X_AVCELL_ADDR 0x17     // Battery cycles
#define MAX1720X_COMMAND_ADDR 0x60    // Command register
#define MAX1720X_CONFIG2_ADDR 0xbb    // Command register
#define MAX1720X_AVG_TEMP1_ADDR 0x137 // Command register

#define MAX1720X_PACKCFG 0x0BD
#define MAX1720X_NPACKCFG 0x1B5
#define MAX1720X_NDESIGNCAP 0x1B3
#define MAX1720X_NCONFIG 0x1B0
#define MAX1720X_NNVCFG0 0x1B8
#define MAX1720X_CONFIG 0x01D
#define MAX1720X_CONFIG2 0x0BB
#define MAX1720X_AIN1_ADDR  0x134 

//#define MAX1720X_CONFIG2_ADDR           0x1b4   // Hibernate register

/* Resolutions */
#define MAX1720X_CAPACITY_RES 0.005          // Vh with 10mOhm shunt
#define MAX1720X_CURRENT_RES 0.0015625       // mA with 10mOhm shunt
#define MAX1720X_SENS_RESISTOR_VALUE 0.01    // Ohms
#define MAX1720X_TIME_LSB 5.625              // sec
#define MAX1720X_PERCENT_LSB 0.00390625      // 1/256%
#define MAX1720X_AIN_TEMP_RESOLUTION 0.00391 // Internal Temperature Measurement Resolution at AIN1/2
#define MAX1720X_COMMAND_REG 060 // fuel gauge reset
#define tRECALL 10
#define tPOR 10
#define tBLOCK 8000

/* Battery percentage level */
#define BATTERY_GOOD 60 // 3650
#define BATTERY_LOW 20  // 3400

#define VUSB_THRES_DIGIT 3000 // 850
#define LOW_BAT_THRES 10      // in percent % (State of charge)
//#define LOW_BAT_VOLTAGE_THRES 3450
#define LOW_BAT_HYSTERESIS 100
#define BATTERY_CHARGE_CURRENT_HYSTERESIS 2.0  // mA
#define BATTERY_CHARGE_TEMPERATURE_HYSTERESIS 1.0 // deg
#define BATTERY_GAUGE_CHARGE_STATUS_DELAY 10 // unit: 100ms  -> 10 = 10*100ms = 1sec
#define BATTERY_GAUGE_TEMPERATURE_PROGRESS_DELAY 5; // sec

typedef struct
{
  double NominalCapacity;   // mAh
  double NominalVoltage;    // mV
  double Shunt;             // mOhm
  double RemainingCapacity; // mAh  
  double TimeToFull;        // s
  double TimeToEmpty;       // s
  double Current;           // mA
  double AvgCurrent;        // mA
  double Voltage;           // mV
  double Temperature;       // deg
  double ChargeCycle;       // counts
  double StateOfCharge;     // %
  double age;               // %
} BATTERY;

extern BATTERY battery;

extern void battery_gauge_init(void);
extern void battery_gauge_soft_reset(void);
extern void battery_gauge_full_reset(void);
extern void battery_gauge_write(uint16_t reg, uint16_t val);
extern uint16_t battery_gauge_read(uint16_t reg);
extern void battery_gauge_UpdateData(void);
extern double battery_getCurrent(void);
extern double battery_getAvgCurrent(void);
extern double battery_getVoltage(void);
extern double battery_getTemperature(void);
extern double battery_getCapacity(void);
extern double battery_getStateOfCharge(void);
extern double battery_getTimeToFull(void);
extern double battery_getTimeToEmpty(void);
extern double battery_getChargeCycle(void);
extern double battery_getAge(void);
extern void battery_PrintDetails(void);
extern int8_t battery_remaining_non_volatile_updates(void);
extern void battery_gauge_CheckChargeStatus(void);
extern void battery_gauge_CheckLowBat(void);

extern uint8_t battery_low_bat_notification;
extern uint8_t battery_gauge_temperature_controlled_charge_enable;
extern uint8_t battery_charge_enable_notification;
extern uint8_t battery_avoid_multiple_notifications;
extern uint16_t battery_charge_status_delay;
extern uint16_t battery_gauge_temperature_progress_delay;

extern struct gpio_dt_spec charge_enable_pin;

#endif
```

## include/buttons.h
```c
/**
 * @file button.h
 * @author Thomas Keilbach | keiltronic GmbH
 * @date 04 Oct 2023
 * @brief This file contains functions headers to communicate with the pheripherals
 * @version 2.0.0
 */

#ifndef BUTTONS_H
#define BUTTONS_H

#include <zephyr/kernel.h>
#include <zephyr/device.h>
#include <hal/nrf_regulators.h>
#include "algorithms.h"
#include "battery_gauge.h"
#include "events.h"
#include "hibernate.h"
#include "led.h"
#include "hard_reset.h"

#define BATTERY_LEVEL_TIME 1000 // ms
#define HIBERNATE_TIME 5000 // ms

extern struct gpio_dt_spec button0;
extern struct gpio_dt_spec button1;

extern struct gpio_callback button0_cb_data;
extern struct gpio_callback button1_cb_data;

extern bool btn0_pressed;
extern bool btn1_pressed;

extern void button_init(void);
extern void button_monitor(void);
extern void button0_pressed_cb(const struct device *dev, struct gpio_callback *cb, uint32_t pins);
extern void button1_pressed_cb(const struct device *dev, struct gpio_callback *cb, uint32_t pins);

#endif
```

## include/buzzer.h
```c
/**
 * @file buzzer.h
 * @author Thomas Keilbach | keiltronic GmbH
 * @date 27 Oct 2022
 * @brief This file contains functions headers to communicate with the pheripherals
 * @version 1.0.0
 */

#ifndef BUZZER_H
#define BUZZER_H

#include <zephyr/device.h>
#include "pwm.h"
#include "system_mem.h"
#include "parameter_mem.h"

#define BUZZER_RES_FREQ   2700

#define BUZZER_OFF        0
#define BUZZER_ON         1
#define BUZZER_BEEP       2

typedef struct {
    uint8_t status;
    uint8_t status_old;
    uint32_t frequency;
    uint32_t duty_cycle;
    uint32_t beep_on_time;
    uint32_t beep_off_time;
    uint32_t delay;
    uint32_t delay_timer;
    uint32_t beep_period_counter;
    uint32_t beep_cycles;
    uint32_t beep_cycle_counter;
    uint32_t burst_repeat_periode;
    uint32_t burst_period_counter;
    uint32_t burst_repeat_cycles;
    uint32_t burst_repeat_counter;
    bool isBeeping;
} BUZZER;

extern BUZZER buzzer;
extern void set_buzzer(BUZZER *buzzer);
extern void buzzer_update(BUZZER *buzzer);

#endif
```

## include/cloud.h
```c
/**
 * @file cloud.h
 * @author Thomas Keilbach | keiltronic GmbH
 * @date 27 Oct 2022
 * @brief This file contains functions headers to communicate with the pheripherals
 * @version 1.0.0
 */

#ifndef CLOUD_H
#define CLOUD_H

#include <zephyr/kernel.h>
#include <stdio.h>
#include <stdlib.h>
#include "aletheia.pb-c.h"
#include "battery_gauge.h"
#include "string.h"
#include "coap.h"
#include "events.h"
#include "algorithms.h"
#include "epc_mem.h"
#include "event_mem.h"

extern UsageUpdate myUsageUpdate;
extern DeviceStatus myDeviceStatus;
extern uint32_t coap_last_transmission_timer;
extern time_t timestamp_last_cloud_transmission;

extern void cloud_SendUsageUpdateObject(void);
extern uint32_t protobuf_EncodeUsageUpdateObject(uint8_t **buf);
extern void cloud_DecodeUsageUpdateProtobuf(uint8_t *message, uint16_t len);
extern void cloud_DecodeHubUpdateProtobuf(uint8_t *message, uint16_t len);
extern void cloud_DecodeDataUpdateProtobuf(uint8_t *message, uint16_t len);

#endif
```
